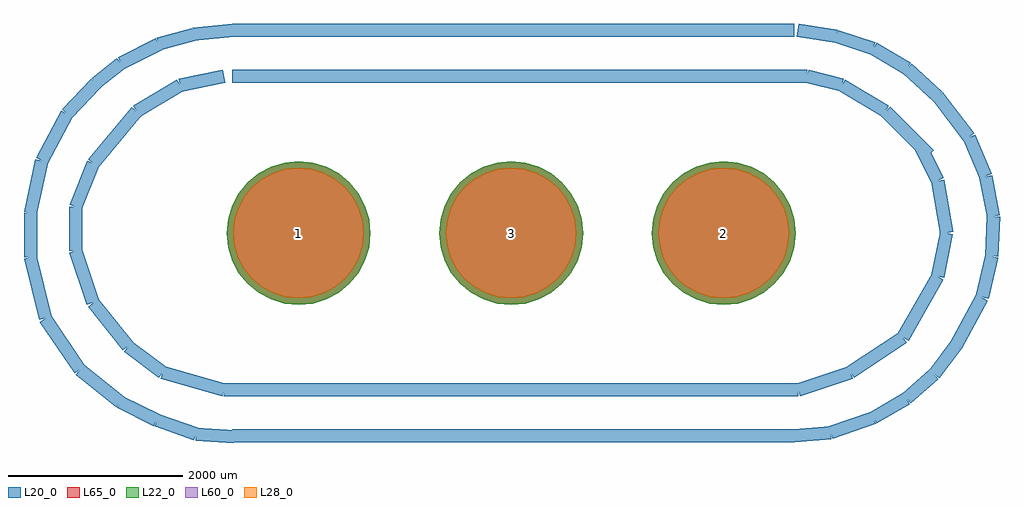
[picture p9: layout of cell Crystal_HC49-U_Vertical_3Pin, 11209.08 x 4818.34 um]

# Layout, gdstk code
import gdstk
lib = gdstk.Library(unit=1e-6, precision=1e-09)
def P(c, l, *ps):  # polygons
    for p in ps: c.add(gdstk.Polygon(p, *l))
L20_0 = (20, 0)
L22_0 = (22, 0)
L28_0 = (28, 0)
L60_0 = (60, 0)
L65_0 = (65, 0)

crystal_hc49_u_vertical_ = lib.new_cell('Crystal_HC49-U_Vertical_3Pin')
P(crystal_hc49_u_vertical_, L22_0, [(825.57,0),(809.707,161.061),(762.727,315.932),(686.436,458.662),(583.766,583.766),(458.662,686.436),(315.932,762.727),(161.061,809.707),(0,825.57),(-161.061,809.707),(-315.932,762.727),(-458.662,686.436),(-583.766,583.766),(-686.436,458.662),(-762.727,315.932),(-809.707,161.061),(-825.57,0),(-809.707,-161.061),(-762.727,-315.932),(-686.436,-458.662),(-583.766,-583.766),(-458.662,-686.436),(-315.932,-762.727),(-161.061,-809.707),(0,-825.57),(161.061,-809.707),(315.932,-762.727),(458.662,-686.436),(583.766,-583.766),(686.436,-458.662),(762.727,-315.932),(809.707,-161.061)],
  [(3266.51,0),(3250.647,161.061),(3203.667,315.932),(3127.376,458.662),(3024.706,583.766),(2899.602,686.436),(2756.872,762.727),(2602.001,809.707),(2440.94,825.57),(2279.879,809.707),(2125.008,762.727),(1982.278,686.436),(1857.174,583.766),(1754.504,458.662),(1678.213,315.932),(1631.233,161.061),(1615.37,0),(1631.233,-161.061),(1678.213,-315.932),(1754.504,-458.662),(1857.174,-583.766),(1982.278,-686.436),(2125.008,-762.727),(2279.879,-809.707),(2440.94,-825.57),(2602.001,-809.707),(2756.872,-762.727),(2899.602,-686.436),(3024.706,-583.766),(3127.376,-458.662),(3203.667,-315.932),(3250.647,-161.061)],
  [(-1615.37,0),(-1631.233,161.061),(-1678.213,315.932),(-1754.504,458.662),(-1857.174,583.766),(-1982.278,686.436),(-2125.008,762.727),(-2279.879,809.707),(-2440.94,825.57),(-2602.001,809.707),(-2756.872,762.727),(-2899.602,686.436),(-3024.706,583.766),(-3127.376,458.662),(-3203.667,315.932),(-3250.647,161.061),(-3266.51,0),(-3250.647,-161.061),(-3203.667,-315.932),(-3127.376,-458.662),(-3024.706,-583.766),(-2899.602,-686.436),(-2756.872,-762.727),(-2602.001,-809.707),(-2440.94,-825.57),(-2279.879,-809.707),(-2125.008,-762.727),(-1982.278,-686.436),(-1857.174,-583.766),(-1754.504,-458.662),(-1678.213,-315.932),(-1631.233,-161.061)])
P(crystal_hc49_u_vertical_, L28_0, [(750.57,0),(736.148,146.429),(693.436,287.231),(624.076,416.994),(530.733,530.733),(416.994,624.076),(287.231,693.436),(146.429,736.148),(0,750.57),(-146.429,736.148),(-287.231,693.436),(-416.994,624.076),(-530.733,530.733),(-624.076,416.994),(-693.436,287.231),(-736.148,146.429),(-750.57,0),(-736.148,-146.429),(-693.436,-287.231),(-624.076,-416.994),(-530.733,-530.733),(-416.994,-624.076),(-287.231,-693.436),(-146.429,-736.148),(0,-750.57),(146.429,-736.148),(287.231,-693.436),(416.994,-624.076),(530.733,-530.733),(624.076,-416.994),(693.436,-287.231),(736.148,-146.429)],
  [(3191.51,0),(3177.088,146.429),(3134.376,287.231),(3065.016,416.994),(2971.673,530.733),(2857.934,624.076),(2728.171,693.436),(2587.369,736.148),(2440.94,750.57),(2294.511,736.148),(2153.709,693.436),(2023.946,624.076),(1910.207,530.733),(1816.864,416.994),(1747.504,287.231),(1704.792,146.429),(1690.37,0),(1704.792,-146.429),(1747.504,-287.231),(1816.864,-416.994),(1910.207,-530.733),(2023.946,-624.076),(2153.709,-693.436),(2294.511,-736.148),(2440.94,-750.57),(2587.369,-736.148),(2728.171,-693.436),(2857.934,-624.076),(2971.673,-530.733),(3065.016,-416.994),(3134.376,-287.231),(3177.088,-146.429)],
  [(-1690.37,0),(-1704.792,146.429),(-1747.504,287.231),(-1816.864,416.994),(-1910.207,530.733),(-2023.946,624.076),(-2153.709,693.436),(-2294.511,736.148),(-2440.94,750.57),(-2587.369,736.148),(-2728.171,693.436),(-2857.934,624.076),(-2971.673,530.733),(-3065.016,416.994),(-3134.376,287.231),(-3177.088,146.429),(-3191.51,0),(-3177.088,-146.429),(-3134.376,-287.231),(-3065.016,-416.994),(-2971.673,-530.733),(-2857.934,-624.076),(-2728.171,-693.436),(-2587.369,-736.148),(-2440.94,-750.57),(-2294.511,-736.148),(-2153.709,-693.436),(-2023.946,-624.076),(-1910.207,-530.733),(-1816.864,-416.994),(-1747.504,-287.231),(-1704.792,-146.429)])
P(crystal_hc49_u_vertical_, L60_0, [(750.57,0),(736.148,146.429),(693.436,287.231),(624.076,416.994),(530.733,530.733),(416.994,624.076),(287.231,693.436),(146.429,736.148),(0,750.57),(-146.429,736.148),(-287.231,693.436),(-416.994,624.076),(-530.733,530.733),(-624.076,416.994),(-693.436,287.231),(-736.148,146.429),(-750.57,0),(-736.148,-146.429),(-693.436,-287.231),(-624.076,-416.994),(-530.733,-530.733),(-416.994,-624.076),(-287.231,-693.436),(-146.429,-736.148),(0,-750.57),(146.429,-736.148),(287.231,-693.436),(416.994,-624.076),(530.733,-530.733),(624.076,-416.994),(693.436,-287.231),(736.148,-146.429)],
  [(3191.51,0),(3177.088,146.429),(3134.376,287.231),(3065.016,416.994),(2971.673,530.733),(2857.934,624.076),(2728.171,693.436),(2587.369,736.148),(2440.94,750.57),(2294.511,736.148),(2153.709,693.436),(2023.946,624.076),(1910.207,530.733),(1816.864,416.994),(1747.504,287.231),(1704.792,146.429),(1690.37,0),(1704.792,-146.429),(1747.504,-287.231),(1816.864,-416.994),(1910.207,-530.733),(2023.946,-624.076),(2153.709,-693.436),(2294.511,-736.148),(2440.94,-750.57),(2587.369,-736.148),(2728.171,-693.436),(2857.934,-624.076),(2971.673,-530.733),(3065.016,-416.994),(3134.376,-287.231),(3177.088,-146.429)],
  [(-1690.37,0),(-1704.792,146.429),(-1747.504,287.231),(-1816.864,416.994),(-1910.207,530.733),(-2023.946,624.076),(-2153.709,693.436),(-2294.511,736.148),(-2440.94,750.57),(-2587.369,736.148),(-2728.171,693.436),(-2857.934,624.076),(-2971.673,530.733),(-3065.016,416.994),(-3134.376,287.231),(-3177.088,146.429),(-3191.51,0),(-3177.088,-146.429),(-3134.376,-287.231),(-3065.016,-416.994),(-2971.673,-530.733),(-2857.934,-624.076),(-2728.171,-693.436),(-2587.369,-736.148),(-2440.94,-750.57),(-2294.511,-736.148),(-2153.709,-693.436),(-2023.946,-624.076),(-1910.207,-530.733),(-1816.864,-416.994),(-1747.504,-287.231),(-1704.792,-146.429)])
P(crystal_hc49_u_vertical_, L65_0, [(825.57,0),(809.707,161.061),(762.727,315.932),(686.436,458.662),(583.766,583.766),(458.662,686.436),(315.932,762.727),(161.061,809.707),(0,825.57),(-161.061,809.707),(-315.932,762.727),(-458.662,686.436),(-583.766,583.766),(-686.436,458.662),(-762.727,315.932),(-809.707,161.061),(-825.57,0),(-809.707,-161.061),(-762.727,-315.932),(-686.436,-458.662),(-583.766,-583.766),(-458.662,-686.436),(-315.932,-762.727),(-161.061,-809.707),(0,-825.57),(161.061,-809.707),(315.932,-762.727),(458.662,-686.436),(583.766,-583.766),(686.436,-458.662),(762.727,-315.932),(809.707,-161.061)],
  [(3266.51,0),(3250.647,161.061),(3203.667,315.932),(3127.376,458.662),(3024.706,583.766),(2899.602,686.436),(2756.872,762.727),(2602.001,809.707),(2440.94,825.57),(2279.879,809.707),(2125.008,762.727),(1982.278,686.436),(1857.174,583.766),(1754.504,458.662),(1678.213,315.932),(1631.233,161.061),(1615.37,0),(1631.233,-161.061),(1678.213,-315.932),(1754.504,-458.662),(1857.174,-583.766),(1982.278,-686.436),(2125.008,-762.727),(2279.879,-809.707),(2440.94,-825.57),(2602.001,-809.707),(2756.872,-762.727),(2899.602,-686.436),(3024.706,-583.766),(3127.376,-458.662),(3203.667,-315.932),(3250.647,-161.061)],
  [(-1615.37,0),(-1631.233,161.061),(-1678.213,315.932),(-1754.504,458.662),(-1857.174,583.766),(-1982.278,686.436),(-2125.008,762.727),(-2279.879,809.707),(-2440.94,825.57),(-2602.001,809.707),(-2756.872,762.727),(-2899.602,686.436),(-3024.706,583.766),(-3127.376,458.662),(-3203.667,315.932),(-3250.647,161.061),(-3266.51,0),(-3250.647,-161.061),(-3203.667,-315.932),(-3127.376,-458.662),(-3024.706,-583.766),(-2899.602,-686.436),(-2756.872,-762.727),(-2602.001,-809.707),(-2440.94,-825.57),(-2279.879,-809.707),(-2125.008,-762.727),(-1982.278,-686.436),(-1857.174,-583.766),(-1754.504,-458.662),(-1678.213,-315.932),(-1631.233,-161.061)])
crystal_hc49_u_vertical_.add(gdstk.FlexPath([(-3200.4,2329.18),(3251.2,2329.18)], 149.998, ends="flush", simple_path=True, layer=20, datatype=0))  # L20_0
crystal_hc49_u_vertical_.add(gdstk.FlexPath([(3670.3,-2291.08),(4160.52,-2120.9)], 149.998, ends="flush", simple_path=True, layer=20, datatype=0))  # L20_0
crystal_hc49_u_vertical_.add(gdstk.FlexPath([(3251.2,-2329.18),(3670.3,-2291.08)], 149.998, ends="flush", simple_path=True, layer=20, datatype=0))  # L20_0
crystal_hc49_u_vertical_.add(gdstk.FlexPath([(-3200.4,-2329.18),(3251.2,-2329.18)], 149.998, ends="flush", simple_path=True, layer=20, datatype=0))  # L20_0
crystal_hc49_u_vertical_.add(gdstk.FlexPath([(3731.26,2260.6),(3289.3,2329.18)], 149.998, ends="flush", simple_path=True, layer=20, datatype=0))  # L20_0
crystal_hc49_u_vertical_.add(gdstk.FlexPath([(4160.52,2120.9),(3731.26,2260.6)], 149.998, ends="flush", simple_path=True, layer=20, datatype=0))  # L20_0
crystal_hc49_u_vertical_.add(gdstk.FlexPath([(4549.14,1889.76),(4160.52,2120.9)], 149.998, ends="flush", simple_path=True, layer=20, datatype=0))  # L20_0
crystal_hc49_u_vertical_.add(gdstk.FlexPath([(4899.66,1569.72),(4549.14,1889.76)], 149.998, ends="flush", simple_path=True, layer=20, datatype=0))  # L20_0
crystal_hc49_u_vertical_.add(gdstk.FlexPath([(5260.34,1099.82),(4899.66,1569.72)], 149.998, ends="flush", simple_path=True, layer=20, datatype=0))  # L20_0
crystal_hc49_u_vertical_.add(gdstk.FlexPath([(5450.84,650.24),(5260.34,1099.82)], 149.998, ends="flush", simple_path=True, layer=20, datatype=0))  # L20_0
crystal_hc49_u_vertical_.add(gdstk.FlexPath([(5539.74,190.5),(5450.84,650.24)], 149.998, ends="flush", simple_path=True, layer=20, datatype=0))  # L20_0
crystal_hc49_u_vertical_.add(gdstk.FlexPath([(5519.42,-269.24),(5539.74,190.5)], 149.998, ends="flush", simple_path=True, layer=20, datatype=0))  # L20_0
crystal_hc49_u_vertical_.add(gdstk.FlexPath([(5410.2,-739.14),(5519.42,-269.24)], 149.998, ends="flush", simple_path=True, layer=20, datatype=0))  # L20_0
crystal_hc49_u_vertical_.add(gdstk.FlexPath([(5110.48,-1290.32),(5410.2,-739.14)], 149.998, ends="flush", simple_path=True, layer=20, datatype=0))  # L20_0
crystal_hc49_u_vertical_.add(gdstk.FlexPath([(4859.02,-1620.52),(5110.48,-1290.32)], 149.998, ends="flush", simple_path=True, layer=20, datatype=0))  # L20_0
crystal_hc49_u_vertical_.add(gdstk.FlexPath([(4538.98,-1899.92),(4859.02,-1620.52)], 149.998, ends="flush", simple_path=True, layer=20, datatype=0))  # L20_0
crystal_hc49_u_vertical_.add(gdstk.FlexPath([(4160.52,-2120.9),(4538.98,-1899.92)], 149.998, ends="flush", simple_path=True, layer=20, datatype=0))  # L20_0
crystal_hc49_u_vertical_.add(gdstk.FlexPath([(-3619.5,-2308.86),(-3180.08,-2339.34)], 149.998, ends="flush", simple_path=True, layer=20, datatype=0))  # L20_0
crystal_hc49_u_vertical_.add(gdstk.FlexPath([(-4069.08,-2148.84),(-3619.5,-2308.86)], 149.998, ends="flush", simple_path=True, layer=20, datatype=0))  # L20_0
crystal_hc49_u_vertical_.add(gdstk.FlexPath([(-4490.72,-1940.56),(-4069.08,-2148.84)], 149.998, ends="flush", simple_path=True, layer=20, datatype=0))  # L20_0
crystal_hc49_u_vertical_.add(gdstk.FlexPath([(-4950.46,-1569.72),(-4490.72,-1940.56)], 149.998, ends="flush", simple_path=True, layer=20, datatype=0))  # L20_0
crystal_hc49_u_vertical_.add(gdstk.FlexPath([(-5349.24,-980.44),(-4950.46,-1569.72)], 149.998, ends="flush", simple_path=True, layer=20, datatype=0))  # L20_0
crystal_hc49_u_vertical_.add(gdstk.FlexPath([(-5519.42,-279.4),(-5349.24,-980.44)], 149.998, ends="flush", simple_path=True, layer=20, datatype=0))  # L20_0
crystal_hc49_u_vertical_.add(gdstk.FlexPath([(-5519.42,231.14),(-5519.42,-279.4)], 149.998, ends="flush", simple_path=True, layer=20, datatype=0))  # L20_0
crystal_hc49_u_vertical_.add(gdstk.FlexPath([(-5389.88,830.58),(-5519.42,231.14)], 149.998, ends="flush", simple_path=True, layer=20, datatype=0))  # L20_0
crystal_hc49_u_vertical_.add(gdstk.FlexPath([(-5100.32,1369.06),(-5389.88,830.58)], 149.998, ends="flush", simple_path=True, layer=20, datatype=0))  # L20_0
crystal_hc49_u_vertical_.add(gdstk.FlexPath([(-4770.12,1719.58),(-5100.32,1369.06)], 149.998, ends="flush", simple_path=True, layer=20, datatype=0))  # L20_0
crystal_hc49_u_vertical_.add(gdstk.FlexPath([(-4480.56,1950.72),(-4770.12,1719.58)], 149.998, ends="flush", simple_path=True, layer=20, datatype=0))  # L20_0
crystal_hc49_u_vertical_.add(gdstk.FlexPath([(-4048.76,2169.16),(-4480.56,1950.72)], 149.998, ends="flush", simple_path=True, layer=20, datatype=0))  # L20_0
crystal_hc49_u_vertical_.add(gdstk.FlexPath([(-3649.98,2280.92),(-4048.76,2169.16)], 149.998, ends="flush", simple_path=True, layer=20, datatype=0))  # L20_0
crystal_hc49_u_vertical_.add(gdstk.FlexPath([(-3190.24,2329.18),(-3649.98,2280.92)], 149.998, ends="flush", simple_path=True, layer=20, datatype=0))  # L20_0
crystal_hc49_u_vertical_.add(gdstk.FlexPath([(4300.22,1399.54),(4800.6,899.16)], 149.998, ends="flush", simple_path=True, layer=20, datatype=0))  # L20_0
crystal_hc49_u_vertical_.add(gdstk.FlexPath([(3799.84,1699.26),(4300.22,1399.54)], 149.998, ends="flush", simple_path=True, layer=20, datatype=0))  # L20_0
crystal_hc49_u_vertical_.add(gdstk.FlexPath([(3401.06,1800.86),(3799.84,1699.26)], 149.998, ends="flush", simple_path=True, layer=20, datatype=0))  # L20_0
crystal_hc49_u_vertical_.add(gdstk.FlexPath([(-3200.4,1800.86),(3401.06,1800.86)], 149.998, ends="flush", simple_path=True, layer=20, datatype=0))  # L20_0
crystal_hc49_u_vertical_.add(gdstk.FlexPath([(-3799.84,1699.26),(-3299.46,1800.86)], 149.998, ends="flush", simple_path=True, layer=20, datatype=0))  # L20_0
crystal_hc49_u_vertical_.add(gdstk.FlexPath([(-4300.22,1399.54),(-3799.84,1699.26)], 149.998, ends="flush", simple_path=True, layer=20, datatype=0))  # L20_0
crystal_hc49_u_vertical_.add(gdstk.FlexPath([(-4800.6,800.1),(-4300.22,1399.54)], 149.998, ends="flush", simple_path=True, layer=20, datatype=0))  # L20_0
crystal_hc49_u_vertical_.add(gdstk.FlexPath([(-5001.26,299.72),(-4800.6,800.1)], 149.998, ends="flush", simple_path=True, layer=20, datatype=0))  # L20_0
crystal_hc49_u_vertical_.add(gdstk.FlexPath([(-5001.26,-200.66),(-5001.26,299.72)], 149.998, ends="flush", simple_path=True, layer=20, datatype=0))  # L20_0
crystal_hc49_u_vertical_.add(gdstk.FlexPath([(-4800.6,-800.1),(-5001.26,-200.66)], 149.998, ends="flush", simple_path=True, layer=20, datatype=0))  # L20_0
crystal_hc49_u_vertical_.add(gdstk.FlexPath([(-4399.28,-1300.48),(-4800.6,-800.1)], 149.998, ends="flush", simple_path=True, layer=20, datatype=0))  # L20_0
crystal_hc49_u_vertical_.add(gdstk.FlexPath([(-4000.5,-1600.2),(-4399.28,-1300.48)], 149.998, ends="flush", simple_path=True, layer=20, datatype=0))  # L20_0
crystal_hc49_u_vertical_.add(gdstk.FlexPath([(-3299.46,-1800.86),(-4000.5,-1600.2)], 149.998, ends="flush", simple_path=True, layer=20, datatype=0))  # L20_0
crystal_hc49_u_vertical_.add(gdstk.FlexPath([(3299.46,-1800.86),(-3299.46,-1800.86)], 149.998, ends="flush", simple_path=True, layer=20, datatype=0))  # L20_0
crystal_hc49_u_vertical_.add(gdstk.FlexPath([(3898.9,-1600.2),(3299.46,-1800.86)], 149.998, ends="flush", simple_path=True, layer=20, datatype=0))  # L20_0
crystal_hc49_u_vertical_.add(gdstk.FlexPath([(4500.88,-1198.88),(3898.9,-1600.2)], 149.998, ends="flush", simple_path=True, layer=20, datatype=0))  # L20_0
crystal_hc49_u_vertical_.add(gdstk.FlexPath([(4899.66,-500.38),(4500.88,-1198.88)], 149.998, ends="flush", simple_path=True, layer=20, datatype=0))  # L20_0
crystal_hc49_u_vertical_.add(gdstk.FlexPath([(5001.26,0),(4899.66,-500.38)], 149.998, ends="flush", simple_path=True, layer=20, datatype=0))  # L20_0
crystal_hc49_u_vertical_.add(gdstk.FlexPath([(4899.66,599.44),(5001.26,0)], 149.998, ends="flush", simple_path=True, layer=20, datatype=0))  # L20_0
crystal_hc49_u_vertical_.add(gdstk.FlexPath([(4699,1000.76),(4899.66,599.44)], 149.998, ends="flush", simple_path=True, layer=20, datatype=0))  # L20_0
crystal_hc49_u_vertical_.add(gdstk.Label('3', (0,0), layer=28, texttype=0))
crystal_hc49_u_vertical_.add(gdstk.Label('2', (2440.94,0), layer=28, texttype=0))
crystal_hc49_u_vertical_.add(gdstk.Label('1', (-2440.94,0), layer=28, texttype=0))
crystal_hc49_u_vertical_.add(gdstk.Label('type', (0,-3810), layer=9, texttype=0))
crystal_hc49_u_vertical_.add(gdstk.Label('devicename', (0,3810), layer=9, texttype=0))

lib.write_gds('Crystal_HC49-U_Vertical_3Pin.gds')
